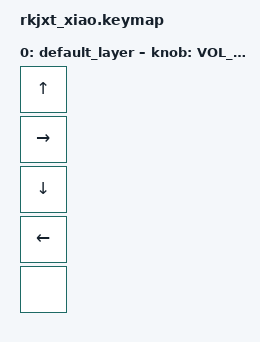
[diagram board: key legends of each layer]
#include <behaviors.dtsi>
#include <dt-bindings/zmk/keys.h>

/ {
    keymap {
        compatible = "zmk,keymap";

        default_layer {
            /* A, B, C, D, Push
             * RKJXT1F42001 closes Push together with every direction tilt,
             * so Push is left unbound (&none) to avoid Enter on A/B/C/D.
             */
            bindings = <
                &kp UP
                &kp RIGHT
                &kp DOWN
                &kp LEFT
                &none
            >;
            sensor-bindings = <&inc_dec_kp C_VOL_UP C_VOL_DN>;
        };
    };
};
